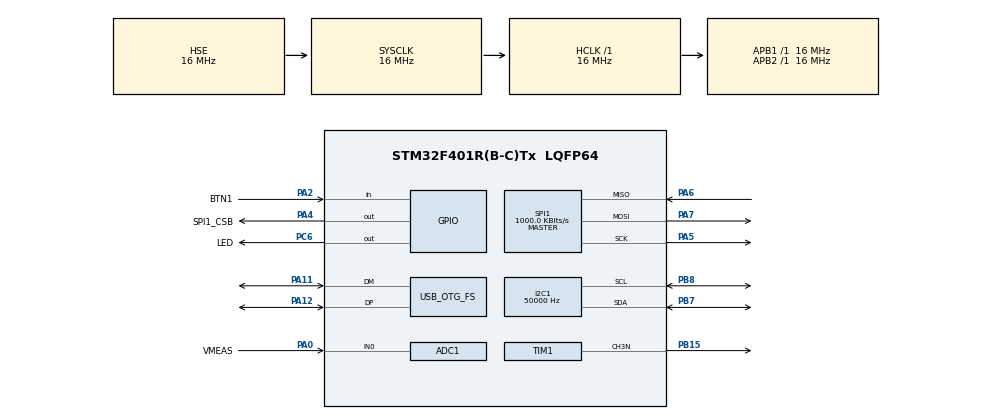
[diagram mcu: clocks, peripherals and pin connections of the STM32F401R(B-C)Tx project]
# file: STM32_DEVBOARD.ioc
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ADC1.Channel-0\#ChannelRegularConversion=ADC_CHANNEL_0
ADC1.NbrOfConversionFlag=1
ADC1.Rank-0\#ChannelRegularConversion=1
ADC1.SamplingTime-0\#ChannelRegularConversion=ADC_SAMPLETIME_3CYCLES
ADC1.master=1
I2C1.ClockSpeed=50000
Mcu.Family=STM32F4
Mcu.Name=STM32F401R(B-C)Tx
Mcu.Package=LQFP64
NVIC.OTG_FS_IRQn=true\:0\:0\:false\:false\:true\:false\:true\:true
NVIC.PriorityGroup=NVIC_PRIORITYGROUP_4
NVIC.TIM1_BRK_TIM9_IRQn=true\:0\:0\:false\:false\:true\:true\:true\:true
NVIC.TIM1_CC_IRQn=true\:0\:0\:false\:false\:true\:true\:true\:true
NVIC.TIM1_TRG_COM_TIM11_IRQn=true\:0\:0\:false\:false\:true\:true\:true\:true
NVIC.TIM1_UP_TIM10_IRQn=true\:0\:0\:false\:false\:true\:true\:true\:true
PA0-WKUP.GPIO_Label=VMEAS
PA0-WKUP.Signal=ADCx_IN0
PA11.Mode=Device_Only
PA11.Signal=USB_OTG_FS_DM
PA12.Mode=Device_Only
PA12.Signal=USB_OTG_FS_DP
PA13.Mode=Trace_Asynchronous_SW
PA13.Signal=SYS_JTMS-SWDIO
PA14.Mode=Trace_Asynchronous_SW
PA14.Signal=SYS_JTCK-SWCLK
PA2.GPIO_Label=BTN1
PA2.GPIO_PuPd=GPIO_PULLUP
PA2.Signal=GPIO_Input
PA4.GPIO_Label=SPI1_CSB
PA4.Signal=GPIO_Output
PA5.Mode=Full_Duplex_Master
PA5.Signal=SPI1_SCK
PA6.Mode=Full_Duplex_Master
PA6.Signal=SPI1_MISO
PA7.Mode=Full_Duplex_Master
PA7.Signal=SPI1_MOSI
PB15.Mode=PWM Generation3 CH3N
PB15.Signal=TIM1_CH3N
PB3.Mode=Trace_Asynchronous_SW
PB3.Signal=SYS_JTDO-SWO
PB7.Mode=I2C
PB7.Signal=I2C1_SDA
PB8.Mode=I2C
PB8.Signal=I2C1_SCL
PC6.GPIO_Label=LED
PC6.Signal=GPIO_Output
PH0\ -\ OSC_IN.Mode=HSE-External-Oscillator
PH0\ -\ OSC_IN.Signal=RCC_OSC_IN
PH1\ -\ OSC_OUT.Mode=HSE-External-Oscillator
PH1\ -\ OSC_OUT.Signal=RCC_OSC_OUT
ProjectManager.HeapSize=0x200
ProjectManager.StackSize=0x400
ProjectManager.TargetToolchain=STM32CubeIDE
RCC.48MHZClocksFreq_Value=48000000
RCC.AHBFreq_Value=16000000
RCC.APB1Freq_Value=16000000
RCC.APB2Freq_Value=16000000
RCC.APB2TimFreq_Value=16000000
RCC.CortexFreq_Value=16000000
RCC.HSE_VALUE=16000000
RCC.HSI_VALUE=16000000
RCC.LSE_VALUE=32768
RCC.PLLM=8
RCC.PLLN=72
RCC.PLLQ=3
RCC.SYSCLKFreq_VALUE=16000000
RCC.SYSCLKSource=RCC_SYSCLKSOURCE_HSE
RCC.VCOOutputFreq_Value=144000000
SH.ADCx_IN0.0=ADC1_IN0,IN0
SPI1.BaudRatePrescaler=SPI_BAUDRATEPRESCALER_16
SPI1.CalculateBaudRate=1000.0 KBits/s
SPI1.Direction=SPI_DIRECTION_2LINES
SPI1.Mode=SPI_MODE_MASTER
SPI1.VirtualType=VM_MASTER
TIM1.AutoReloadPreload=TIM_AUTORELOAD_PRELOAD_ENABLE
TIM1.Channel-PWM\ Generation3\ CH3N=TIM_CHANNEL_3
TIM1.Period=61538-1
TIM1.Prescaler=2-1
TIM1.Pulse-PWM\ Generation3\ CH3N=65138/2
USB_DEVICE.CLASS_NAME_FS=CDC
USB_DEVICE.VirtualMode=Cdc
USB_DEVICE.VirtualModeFS=Cdc_FS
USB_OTG_FS.VirtualMode=Device_Only
VP_ADC1_TempSens_Input.Mode=IN-TempSens
VP_TIM1_VS_ClockSourceINT.Mode=Internal
VP_USB_DEVICE_VS_USB_DEVICE_CDC_FS.Mode=CDC_FS
board=custom

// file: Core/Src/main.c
/* USER CODE BEGIN Header */
/**
  ******************************************************************************
  * @file           : main.c
  * @brief          : Main program body
  ******************************************************************************
  * @attention
  *
  * Copyright (c) 2023 STMicroelectronics.
  * All rights reserved.
  *
  * This software is licensed under terms that can be found in the LICENSE file
  * in the root directory of this software component.
  * If no LICENSE file comes with this software, it is provided AS-IS.
  *
  ******************************************************************************
  */
/* USER CODE END Header */
#include "main.h"
#include "usb_device.h"

/* USER CODE BEGIN Includes */
#include "BME280.h"
#include "LIS2DW12.h"
#include "PIEZO.h"

/* USER CODE END Includes */

ADC_HandleTypeDef hadc1;

I2C_HandleTypeDef hi2c1;

SPI_HandleTypeDef hspi1;

TIM_HandleTypeDef htim1;

/* USER CODE BEGIN PV */
BME280 bme;
LIS2 lis;

/* USER CODE END PV */

void SystemClock_Config(void);
static void MX_GPIO_Init(void);
static void MX_ADC1_Init(void);
static void MX_I2C1_Init(void);
static void MX_SPI1_Init(void);
static void MX_TIM1_Init(void);

/* USER CODE BEGIN 0 */
double delay = 20;

/* USER CODE END 0 */

int main(void)
{

  /* MCU Configuration--------------------------------------------------------*/

  /* Reset of all peripherals, Initializes the Flash interface and the Systick. */
  HAL_Init();

  /* Configure the system clock */
  SystemClock_Config();

  /* Initialize all configured peripherals */
  MX_GPIO_Init();
  MX_ADC1_Init();
  MX_I2C1_Init();
  MX_SPI1_Init();
  MX_USB_DEVICE_Init();
  MX_TIM1_Init();
  /* USER CODE BEGIN 2 */
  uint32_t adc_val;
  double VMEAS, VIN;
  int running = 0;

  //BME280_Init(&bme, &hspi1, SPI1_CSB_GPIO_Port, SPI1_CSB_Pin);
  LIS2_Init(&lis, &hi2c1);
  //HAL_TIM_PWM_Start(&htim1,TIM_CHANNEL_3);
  //HAL_TIMEx_PWMN_Start(&htim1, TIM_CHANNEL_3);

  /* USER CODE END 2 */

  /* Infinite loop */
  /* USER CODE BEGIN WHILE */
  while (1){
	  // read input voltage
//	  HAL_ADC_Start(&hadc1); // start the adc
//	  HAL_ADC_PollForConversion(&hadc1, 100); // poll for conversion
//
//	  adc_val = HAL_ADC_GetValue(&hadc1); // get the adc value
//	  VMEAS = (adc_val/4096.0)*3.2;
//	  VIN = (252.0*VMEAS)/32.0;
//
//	  HAL_ADC_Stop(&hadc1); // stop adc

	  //BME280_updateValues(&bme);
	  if(!HAL_GPIO_ReadPin(BTN1_GPIO_Port, BTN1_Pin)){
		  if(!running){
			  running = 1;
			  HAL_TIM_PWM_Start(&htim1,TIM_CHANNEL_3);
			  HAL_TIMEx_PWMN_Start(&htim1, TIM_CHANNEL_3);
		  }
	  }else{
		  if(running){
			  running = 0;
			  HAL_TIM_PWM_Stop(&htim1,TIM_CHANNEL_3);
			  HAL_TIMEx_PWMN_Stop(&htim1, TIM_CHANNEL_3);
		  }
	  }
	  LIS2_Refresh(&lis);
	  PIEZO_setHz(lis.accZ, &htim1);
	  HAL_Delay(100);

    /* USER CODE END WHILE */

  }
}

void SystemClock_Config(void)
{
  RCC_OscInitTypeDef RCC_OscInitStruct = {0};
  RCC_ClkInitTypeDef RCC_ClkInitStruct = {0};

  /** Configure the main internal regulator output voltage
  */
  __HAL_RCC_PWR_CLK_ENABLE();
  __HAL_PWR_VOLTAGESCALING_CONFIG(PWR_REGULATOR_VOLTAGE_SCALE2);

  /** Initializes the RCC Oscillators according to the specified parameters
  * in the RCC_OscInitTypeDef structure.
  */
  RCC_OscInitStruct.OscillatorType = RCC_OSCILLATORTYPE_HSE;
  RCC_OscInitStruct.HSEState = RCC_HSE_ON;
  RCC_OscInitStruct.PLL.PLLState = RCC_PLL_ON;
  RCC_OscInitStruct.PLL.PLLSource = RCC_PLLSOURCE_HSE;
  RCC_OscInitStruct.PLL.PLLM = 8;
  RCC_OscInitStruct.PLL.PLLN = 72;
  RCC_OscInitStruct.PLL.PLLP = RCC_PLLP_DIV2;
  RCC_OscInitStruct.PLL.PLLQ = 3;
  if (HAL_RCC_OscConfig(&RCC_OscInitStruct) != HAL_OK)
  {
    Error_Handler();
  }

  /** Initializes the CPU, AHB and APB buses clocks
  */
  RCC_ClkInitStruct.ClockType = RCC_CLOCKTYPE_HCLK|RCC_CLOCKTYPE_SYSCLK
                              |RCC_CLOCKTYPE_PCLK1|RCC_CLOCKTYPE_PCLK2;
  RCC_ClkInitStruct.SYSCLKSource = RCC_SYSCLKSOURCE_HSE;
  RCC_ClkInitStruct.AHBCLKDivider = RCC_SYSCLK_DIV1;
  RCC_ClkInitStruct.APB1CLKDivider = RCC_HCLK_DIV1;
  RCC_ClkInitStruct.APB2CLKDivider = RCC_HCLK_DIV1;

  if (HAL_RCC_ClockConfig(&RCC_ClkInitStruct, FLASH_LATENCY_0) != HAL_OK)
  {
    Error_Handler();
  }
}

static void MX_ADC1_Init(void)
{

  ADC_ChannelConfTypeDef sConfig = {0};

  /** Configure the global features of the ADC (Clock, Resolution, Data Alignment and number of conversion)
  */
  hadc1.Instance = ADC1;
  hadc1.Init.ClockPrescaler = ADC_CLOCK_SYNC_PCLK_DIV2;
  hadc1.Init.Resolution = ADC_RESOLUTION_12B;
  hadc1.Init.ScanConvMode = DISABLE;
  hadc1.Init.ContinuousConvMode = DISABLE;
  hadc1.Init.DiscontinuousConvMode = DISABLE;
  hadc1.Init.ExternalTrigConvEdge = ADC_EXTERNALTRIGCONVEDGE_NONE;
  hadc1.Init.ExternalTrigConv = ADC_SOFTWARE_START;
  hadc1.Init.DataAlign = ADC_DATAALIGN_RIGHT;
  hadc1.Init.NbrOfConversion = 1;
  hadc1.Init.DMAContinuousRequests = DISABLE;
  hadc1.Init.EOCSelection = ADC_EOC_SINGLE_CONV;
  if (HAL_ADC_Init(&hadc1) != HAL_OK)
  {
    Error_Handler();
  }

  /** Configure for the selected ADC regular channel its corresponding rank in the sequencer and its sample time.
  */
  sConfig.Channel = ADC_CHANNEL_0;
  sConfig.Rank = 1;
  sConfig.SamplingTime = ADC_SAMPLETIME_3CYCLES;
  if (HAL_ADC_ConfigChannel(&hadc1, &sConfig) != HAL_OK)
  {
    Error_Handler();
  }

}

static void MX_I2C1_Init(void)
{

  hi2c1.Instance = I2C1;
  hi2c1.Init.ClockSpeed = 50000;
  hi2c1.Init.DutyCycle = I2C_DUTYCYCLE_2;
  hi2c1.Init.OwnAddress1 = 0;
  hi2c1.Init.AddressingMode = I2C_ADDRESSINGMODE_7BIT;
  hi2c1.Init.DualAddressMode = I2C_DUALADDRESS_DISABLE;
  hi2c1.Init.OwnAddress2 = 0;
  hi2c1.Init.GeneralCallMode = I2C_GENERALCALL_DISABLE;
  hi2c1.Init.NoStretchMode = I2C_NOSTRETCH_DISABLE;
  if (HAL_I2C_Init(&hi2c1) != HAL_OK)
  {
    Error_Handler();
  }

}

static void MX_SPI1_Init(void)
{

  /* SPI1 parameter configuration*/
  hspi1.Instance = SPI1;
  hspi1.Init.Mode = SPI_MODE_MASTER;
  hspi1.Init.Direction = SPI_DIRECTION_2LINES;
  hspi1.Init.DataSize = SPI_DATASIZE_8BIT;
  hspi1.Init.CLKPolarity = SPI_POLARITY_LOW;
  hspi1.Init.CLKPhase = SPI_PHASE_1EDGE;
  hspi1.Init.NSS = SPI_NSS_SOFT;
  hspi1.Init.BaudRatePrescaler = SPI_BAUDRATEPRESCALER_16;
  hspi1.Init.FirstBit = SPI_FIRSTBIT_MSB;
  hspi1.Init.TIMode = SPI_TIMODE_DISABLE;
  hspi1.Init.CRCCalculation = SPI_CRCCALCULATION_DISABLE;
  hspi1.Init.CRCPolynomial = 10;
  if (HAL_SPI_Init(&hspi1) != HAL_OK)
  {
    Error_Handler();
  }

}

static void MX_TIM1_Init(void)
{

  TIM_ClockConfigTypeDef sClockSourceConfig = {0};
  TIM_MasterConfigTypeDef sMasterConfig = {0};
  TIM_OC_InitTypeDef sConfigOC = {0};
  TIM_BreakDeadTimeConfigTypeDef sBreakDeadTimeConfig = {0};

  htim1.Instance = TIM1;
  htim1.Init.Prescaler = 2-1;
  htim1.Init.CounterMode = TIM_COUNTERMODE_UP;
  htim1.Init.Period = 61538-1;
  htim1.Init.ClockDivision = TIM_CLOCKDIVISION_DIV1;
  htim1.Init.RepetitionCounter = 0;
  htim1.Init.AutoReloadPreload = TIM_AUTORELOAD_PRELOAD_ENABLE;
  if (HAL_TIM_Base_Init(&htim1) != HAL_OK)
  {
    Error_Handler();
  }
  sClockSourceConfig.ClockSource = TIM_CLOCKSOURCE_INTERNAL;
  if (HAL_TIM_ConfigClockSource(&htim1, &sClockSourceConfig) != HAL_OK)
  {
    Error_Handler();
  }
  if (HAL_TIM_PWM_Init(&htim1) != HAL_OK)
  {
    Error_Handler();
  }
  sMasterConfig.MasterOutputTrigger = TIM_TRGO_RESET;
  sMasterConfig.MasterSlaveMode = TIM_MASTERSLAVEMODE_DISABLE;
  if (HAL_TIMEx_MasterConfigSynchronization(&htim1, &sMasterConfig) != HAL_OK)
  {
    Error_Handler();
  }
  sConfigOC.OCMode = TIM_OCMODE_PWM1;
  sConfigOC.Pulse = 65138/2;
  sConfigOC.OCPolarity = TIM_OCPOLARITY_HIGH;
  sConfigOC.OCNPolarity = TIM_OCNPOLARITY_HIGH;
  sConfigOC.OCFastMode = TIM_OCFAST_DISABLE;
  sConfigOC.OCIdleState = TIM_OCIDLESTATE_RESET;
  sConfigOC.OCNIdleState = TIM_OCNIDLESTATE_RESET;
  if (HAL_TIM_PWM_ConfigChannel(&htim1, &sConfigOC, TIM_CHANNEL_3) != HAL_OK)
  {
    Error_Handler();
  }
  sBreakDeadTimeConfig.OffStateRunMode = TIM_OSSR_DISABLE;
  sBreakDeadTimeConfig.OffStateIDLEMode = TIM_OSSI_DISABLE;
  sBreakDeadTimeConfig.LockLevel = TIM_LOCKLEVEL_OFF;
  sBreakDeadTimeConfig.DeadTime = 0;
  sBreakDeadTimeConfig.BreakState = TIM_BREAK_DISABLE;
  sBreakDeadTimeConfig.BreakPolarity = TIM_BREAKPOLARITY_HIGH;
  sBreakDeadTimeConfig.AutomaticOutput = TIM_AUTOMATICOUTPUT_DISABLE;
  if (HAL_TIMEx_ConfigBreakDeadTime(&htim1, &sBreakDeadTimeConfig) != HAL_OK)
  {
    Error_Handler();
  }
  HAL_TIM_MspPostInit(&htim1);

}

static void MX_GPIO_Init(void)
{
  GPIO_InitTypeDef GPIO_InitStruct = {0};

  /* GPIO Ports Clock Enable */
  __HAL_RCC_GPIOH_CLK_ENABLE();
  __HAL_RCC_GPIOA_CLK_ENABLE();
  __HAL_RCC_GPIOB_CLK_ENABLE();
  __HAL_RCC_GPIOC_CLK_ENABLE();

  /*Configure GPIO pin Output Level */
  HAL_GPIO_WritePin(SPI1_CSB_GPIO_Port, SPI1_CSB_Pin, GPIO_PIN_RESET);

  /*Configure GPIO pin Output Level */
  HAL_GPIO_WritePin(LED_GPIO_Port, LED_Pin, GPIO_PIN_RESET);

  /*Configure GPIO pin : BTN1_Pin */
  GPIO_InitStruct.Pin = BTN1_Pin;
  GPIO_InitStruct.Mode = GPIO_MODE_INPUT;
  GPIO_InitStruct.Pull = GPIO_PULLUP;
  HAL_GPIO_Init(BTN1_GPIO_Port, &GPIO_InitStruct);

  /*Configure GPIO pin : SPI1_CSB_Pin */
  GPIO_InitStruct.Pin = SPI1_CSB_Pin;
  GPIO_InitStruct.Mode = GPIO_MODE_OUTPUT_PP;
  GPIO_InitStruct.Pull = GPIO_NOPULL;
  GPIO_InitStruct.Speed = GPIO_SPEED_FREQ_LOW;
  HAL_GPIO_Init(SPI1_CSB_GPIO_Port, &GPIO_InitStruct);

  /*Configure GPIO pin : LED_Pin */
  GPIO_InitStruct.Pin = LED_Pin;
  GPIO_InitStruct.Mode = GPIO_MODE_OUTPUT_PP;
  GPIO_InitStruct.Pull = GPIO_NOPULL;
  GPIO_InitStruct.Speed = GPIO_SPEED_FREQ_LOW;
  HAL_GPIO_Init(LED_GPIO_Port, &GPIO_InitStruct);

}

void Error_Handler(void)
{
  __disable_irq();
  while (1)
  {
  }
}
